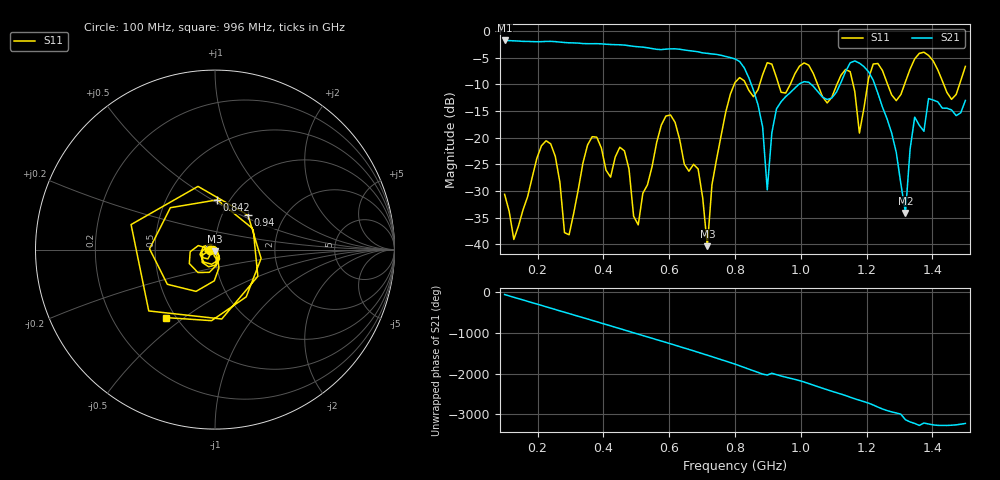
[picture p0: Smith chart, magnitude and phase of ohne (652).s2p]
! NanoVNA-App
! Date: 2025-09-25 14:25:52
! Start: 100MHz Stop: 1,5GHz Points: 101
! S-Parameter data: F S11 S21 S12 S22
# Hz S RI R 50
!  Frequency  S11_Real  S11_Imag  S21_Real  S21_Imag  S12_Real  S12_Imag  S22_Real  S22_Imag
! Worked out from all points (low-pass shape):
!   101 points, 100 MHz to 1.5 GHz, reference 50 ohm
!   highest |S21| = -1.79 dB at 100 MHz (marker M1); lowest = -34.1 dB at 1.318 GHz (marker M2)
!   |S21| within 3 dB of the highest: start of sweep to 771.7 MHz
!   lowest |S11| = -40.4 dB at 716 MHz (marker M3), VSWR 1.02, Z = 49.9 - j0.947 ohm
!   |S11| at or under -10 dB: start of sweep to 797.9 MHz; 833.1 MHz to 875.1 MHz (41.94 MHz wide, 4.91 % of centre); 1.051 GHz to 1.11 GHz (59.09 MHz wide, 5.47 % of centre) (the widest 3 of 7)
!   S12 and S22 are empty: the file has one direction only
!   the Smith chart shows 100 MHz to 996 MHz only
!   S11 on the Smith chart (normalised r, x): 100 MHz: 0.94, -0.01; 842 MHz: 0.88, +0.53; 940 MHz: 1.32, +0.55; 996 MHz: 0.44, -0.43
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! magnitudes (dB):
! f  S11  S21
! 100 MHz  -30.6  -1.8
! 128 MHz  -39.1  -1.9
! 226 MHz  -20.6  -2.0
! 296 MHz  -38.2  -2.2
! 338 MHz  -24.8  -2.4
! 464 MHz  -22.5  -2.7
! 506 MHz  -36.4  -3.0
! 576 MHz  -17.7  -3.5
! 688 MHz  -25.9  -3.9
! 716 MHz  -40.4  -4.2
! 800 MHz  -9.7  -5.2
! 842 MHz  -11.1  -8.8
! 898 MHz  -6.0  -29.8
! 940 MHz  -11.5  -13.3
! 996 MHz  -6.6  -9.9
! 1.038 GHz  -8.0  -10.4
! 1.178 GHz  -19.2  -6.0
! 1.22 GHz  -6.2  -9.3
! 1.276 GHz  -12.0  -19.2
! 1.318 GHz  -9.5  -34.1
! 1.346 GHz  -5.2  -16.2
! 1.5 GHz  -6.7  -13.0
